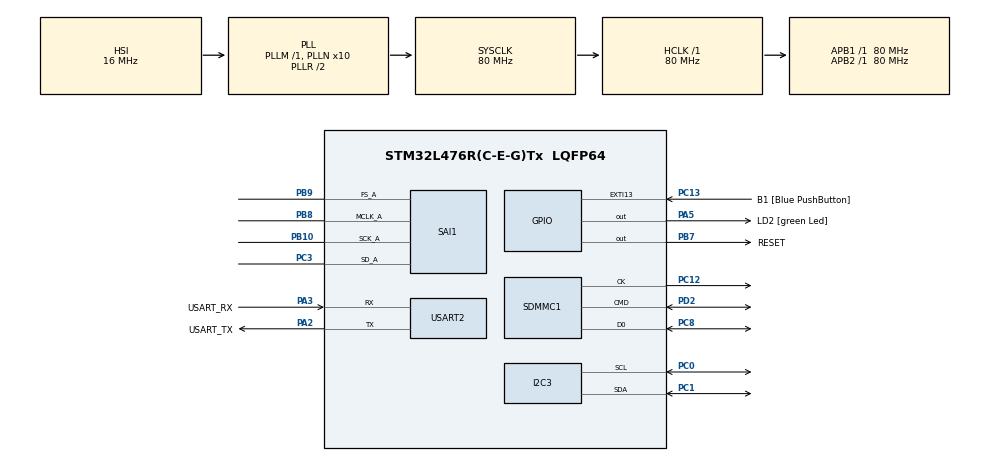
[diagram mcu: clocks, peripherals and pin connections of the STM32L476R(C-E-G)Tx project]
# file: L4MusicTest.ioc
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Dma.Request0=SAI1_A
Dma.SAI1_A.0.Direction=DMA_MEMORY_TO_PERIPH
Dma.SAI1_A.0.Instance=DMA2_Channel1
Dma.SAI1_A.0.MemDataAlignment=DMA_MDATAALIGN_HALFWORD
Dma.SAI1_A.0.MemInc=DMA_MINC_ENABLE
Dma.SAI1_A.0.Mode=DMA_CIRCULAR
Dma.SAI1_A.0.PeriphDataAlignment=DMA_PDATAALIGN_HALFWORD
Dma.SAI1_A.0.PeriphInc=DMA_PINC_DISABLE
Dma.SAI1_A.0.Priority=DMA_PRIORITY_HIGH
FATFS.USE_DMA_CODE_SD=0
FATFS._MAX_SS=4096
FATFS._USE_LFN=1
I2C3.Timing=0x10D19CE4
Mcu.Family=STM32L4
Mcu.Name=STM32L476R(C-E-G)Tx
Mcu.Package=LQFP64
NVIC.DMA2_Channel1_IRQn=true\:0\:0\:false\:false\:true\:false\:true\:true
NVIC.PriorityGroup=NVIC_PRIORITYGROUP_4
NVIC.SAI1_IRQn=true\:0\:0\:false\:false\:true\:true\:true\:true
NVIC.SDMMC1_IRQn=true\:0\:0\:false\:false\:true\:true\:true\:true
PA13\ (JTMS-SWDIO).GPIO_Label=TMS
PA13\ (JTMS-SWDIO).Mode=Serial_Wire
PA13\ (JTMS-SWDIO).Signal=SYS_JTMS-SWDIO
PA14\ (JTCK-SWCLK).GPIO_Label=TCK
PA14\ (JTCK-SWCLK).Mode=Serial_Wire
PA14\ (JTCK-SWCLK).Signal=SYS_JTCK-SWCLK
PA2.GPIO_Label=USART_TX
PA2.GPIO_Mode=GPIO_MODE_AF_PP
PA2.GPIO_PuPd=GPIO_NOPULL
PA2.GPIO_Speed=GPIO_SPEED_FREQ_VERY_HIGH
PA2.Mode=Asynchronous
PA2.Signal=USART2_TX
PA3.GPIO_Label=USART_RX
PA3.GPIO_Mode=GPIO_MODE_AF_PP
PA3.GPIO_PuPd=GPIO_NOPULL
PA3.GPIO_Speed=GPIO_SPEED_FREQ_VERY_HIGH
PA3.Mode=Asynchronous
PA3.Signal=USART2_RX
PA5.GPIO_Label=LD2 [green Led]
PA5.GPIO_ModeDefaultOutputPP=GPIO_MODE_OUTPUT_PP
PA5.GPIO_PuPd=GPIO_NOPULL
PA5.GPIO_Speed=GPIO_SPEED_FREQ_LOW
PA5.Signal=GPIO_Output
PB10.Mode=SAI_A_MasterWithClock
PB10.Signal=SAI1_SCK_A
PB3\ (JTDO-TRACESWO).GPIO_Label=SWO
PB3\ (JTDO-TRACESWO).Signal=SYS_JTDO-SWO
PB7.GPIO_Label=RESET
PB7.Signal=GPIO_Output
PB8.Mode=SAI_A_MasterWithClock
PB8.Signal=SAI1_MCLK_A
PB9.Mode=SAI_A_MasterWithClock
PB9.Signal=SAI1_FS_A
PC0.Mode=I2C
PC0.Signal=I2C3_SCL
PC1.Mode=I2C
PC1.Signal=I2C3_SDA
PC12.Mode=SD_1_bit
PC12.Signal=SDMMC1_CK
PC13.GPIO_Label=B1 [Blue PushButton]
PC13.GPIO_ModeDefaultEXTI=GPIO_MODE_IT_FALLING
PC13.GPIO_PuPd=GPIO_NOPULL
PC13.Signal=GPXTI13
PC14-OSC32_IN\ (PC14).Mode=LSE-External-Oscillator
PC14-OSC32_IN\ (PC14).Signal=RCC_OSC32_IN
PC15-OSC32_OUT\ (PC15).Mode=LSE-External-Oscillator
PC15-OSC32_OUT\ (PC15).Signal=RCC_OSC32_OUT
PC3.Mode=SAI_A_MasterWithClock
PC3.Signal=SAI1_SD_A
PC8.Mode=SD_1_bit
PC8.Signal=SDMMC1_D0
PD2.Mode=SD_1_bit
PD2.Signal=SDMMC1_CMD
PH0-OSC_IN\ (PH0).Signal=RCC_OSC_IN
PH1-OSC_OUT\ (PH1).Signal=RCC_OSC_OUT
ProjectManager.HeapSize=0x200
ProjectManager.StackSize=0x400
ProjectManager.TargetToolchain=CMake
RCC.ADCFreq_Value=64000000
RCC.AHBFreq_Value=80000000
RCC.APB1Freq_Value=80000000
RCC.APB1TimFreq_Value=80000000
RCC.APB2Freq_Value=80000000
RCC.APB2TimFreq_Value=80000000
RCC.CortexFreq_Value=80000000
RCC.HCLKFreq_Value=80000000
RCC.HSE_VALUE=8000000
RCC.HSI_VALUE=16000000
RCC.MSI_VALUE=4000000
RCC.PLLN=10
RCC.PLLP=RCC_PLLP_DIV17
RCC.PLLSAI1Q=RCC_PLLQ_DIV4
RCC.PLLSAI2N=12
RCC.PLLSAI2P=RCC_PLLP_DIV17
RCC.PLLSourceVirtual=RCC_PLLSOURCE_HSI
RCC.PREFETCH_ENABLE=1
RCC.SAI1CLockSelection=RCC_SAI1CLKSOURCE_PLLSAI2
RCC.SYSCLKFreq_VALUE=80000000
RCC.SYSCLKSource=RCC_SYSCLKSOURCE_PLLCLK
RCC.USBFreq_Value=32000000
RCC.VCOOutputFreq_Value=160000000
SAI1.AudioFrequency-SAI_A_MasterWithClock=SAI_AUDIO_FREQUENCY_44K
SAI1.ErrorAudioFreq-SAI_A_MasterWithClock=0.03 %
SAI1.InitProtocol-SAI_A_MasterWithClock=Enable
SAI1.Instance-SAI_A_MasterWithClock=SAI$Index_Block_A
SAI1.MClockEnable-SAI_A_MasterWithClock=SAI_MASTERCLOCK_ENABLE
SAI1.RealAudioFreq-SAI_A_MasterWithClock=44.117 KHz
SAI1.VirtualMode-SAI_A_MasterWithClock=VM_MASTER
SAI1.VirtualProtocol-SAI_A_BASIC=VM_BASIC_PROTOCOL
SDMMC1.ClockDiv=4
USART2.VirtualMode-Asynchronous=VM_ASYNC
VP_FATFS_VS_SDIO.Mode=SDIO
VP_SAI1_VP_$IpInstance_SAIA_SAI_BASIC.Mode=SAI_A_BASIC
board=NUCLEO-L476RG

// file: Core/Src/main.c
/* USER CODE BEGIN Header */
/**
  ******************************************************************************
  * @file           : main.c
  * @brief          : Main program body
  ******************************************************************************
  * @attention
  *
  * Copyright (c) 2026 STMicroelectronics.
  * All rights reserved.
  *
  * This software is licensed under terms that can be found in the LICENSE file
  * in the root directory of this software component.
  * If no LICENSE file comes with this software, it is provided AS-IS.
  *
  ******************************************************************************
  */
/* USER CODE END Header */
#include "main.h"
#include "dma.h"
#include "fatfs.h"
#include "i2c.h"
#include "sai.h"
#include "sdmmc.h"
#include "usart.h"
#include "gpio.h"

/* USER CODE BEGIN Includes */
#include "string.h"
#include "stdio.h"
#include "tlv3100.h"
#include "sdcard_functions.h"

/* USER CODE END Includes */

/* USER CODE BEGIN PV */
// Double buffer — each half is one DMA "half" transfer
// 1024 samples * 2 channels = 2048 int16_t per buffer
#define AUDIO_BUFFER_SAMPLES   2048   // per buffer (stereo: 1024 frames)
#define WAV_HEADER_SIZE        44     // skip standard PCM WAV header
#define MAX_WAV_FILES 20
int current_song_index = 0;

/* USER CODE END PV */

void SystemClock_Config(void);
/* USER CODE BEGIN PFP */

// Forward declarations

int _write(int file, char *ptr, int len) {
    // 1: stdout, 2: stderr
    if (file == 1 || file == 2) {
        // Send data through USART2
        // We use a blocking transmit here
        HAL_StatusTypeDef status = HAL_UART_Transmit(&huart2, (uint8_t *)ptr, len, HAL_MAX_DELAY);

        if (status == HAL_OK) {
            return len; // Return number of bytes written
        }
    }
    return -1; // Return -1 if write failed or file descriptor is invalid
}
#define SINE_SAMPLES 48  // 48 samples per cycle

const int16_t SineWave_Buffer[SINE_SAMPLES * 2] = {
    0, 0, 3977, 3977, 7887, 7887, 11663, 11663, 15239, 15239, 18643, 18643,
    21811, 21811, 24680, 24680, 27192, 27192, 29298, 29298, 30952, 30952, 32120, 32120,
    32767, 32767, 32120, 32120, 30952, 30952, 29298, 29298, 27192, 27192, 24680, 24680,
    21811, 21811, 18643, 18643, 15239, 15239, 11663, 11663, 7887, 7887, 3977, 3977,
    0, 0, -3977, -3977, -7887, -7887, -11663, -11663, -15239, -15239, -18643, -18643,
    -21811, -21811, -24680, -24680, -27192, -27192, -29298, -29298, -30952, -30952, -32120, -32120,
    -32767, -32767, -32120, -32120, -30952, -30952, -29298, -29298, -27192, -27192, -24680, -24680,
    -21811, -21811, -18643, -18643, -15239, -15239, -11663, -11663, -7887, -7887, -3977, -3977
};

/* USER CODE END PFP */

int main(void)
{

  /* MCU Configuration--------------------------------------------------------*/

  /* Reset of all peripherals, Initializes the Flash interface and the Systick. */
  HAL_Init();

  /* Configure the system clock */
  SystemClock_Config();

  /* Initialize all configured peripherals */
  MX_GPIO_Init();
  MX_DMA_Init();
  MX_SAI1_Init();
  MX_SDMMC1_SD_Init();
  MX_USART2_UART_Init();
  MX_FATFS_Init();
  MX_I2C3_Init();
  /* USER CODE BEGIN 2 */
  HAL_GPIO_WritePin(RESET_GPIO_Port, RESET_Pin, GPIO_PIN_RESET);
  HAL_Delay(10); // Hold reset for 10ms

  // Pull PC5 HIGH to bring the DAC out of reset
  HAL_GPIO_WritePin(RESET_GPIO_Port, RESET_Pin, GPIO_PIN_SET);
  HAL_Delay(10); // Give the DAC 10ms to boot up before sending I2C commands

  DAC3100_Init(&hi2c3);
  //HAL_SAI_Transmit_DMA(&hsai_BlockA1, (uint8_t*)SineWave_Buffer, SINE_SAMPLES * 2);
  HAL_Delay(10);
 // Mount SD card
  if (f_mount(&SDFatFS, SDPath, 1) != FR_OK) {
      printf("SD mount failed\r\n");
      Error_Handler();
  }
  char my_wav_files[MAX_WAV_FILES][MAX_FILENAME_LEN];
  int total_files = SD_GetWavFiles("/", my_wav_files, MAX_WAV_FILES);
  printf("\r\n--- Playing Files ---\r\n");
  Audio_Play(my_wav_files[0]);

   /*  Open WAV and skip header
  if (Audio_Play("AUDIO441.WAV") != HAL_OK) {
      Error_Handler();
  }    */

 tlv3100_unmute(&hi2c3);

  /* USER CODE END 2 */

  /* Infinite loop */
  while (1)
  {

    /* USER CODE BEGIN 3 */
     // Refill whichever half the ISR flagged
    if (BufferReady[0]) {
        BufferReady[0] = 0;
        if (PlaybackActive) Audio_FillBuffer(0);
    }
    if (BufferReady[1]) {
        BufferReady[1] = 0;
        if (PlaybackActive) Audio_FillBuffer(1);
    }

    // Optional: stop SAI cleanly when file ends
    if (!PlaybackActive) {

        // 1. Stop the current DMA transfer and close the file
        HAL_SAI_DMAStop(&hsai_BlockA1);
        if (FileIsOpen) {
            f_close(&WavFile);
            FileIsOpen = 0;
        }

        // 2. Advance to the next song
        current_song_index++;

        // Wrap around to the start of the playlist if we hit the end
        if (current_song_index >= total_files) {
            current_song_index = 0;
        }

        printf("\r\n--- Track Ended. Auto-Playing Next ---\r\n");

        // 3. Play the next file in the array
        if (total_files > 0) {
            Audio_Play(my_wav_files[current_song_index]);
        }
    }
  }
  /* USER CODE END 3 */
}

void SystemClock_Config(void)
{
  RCC_OscInitTypeDef RCC_OscInitStruct = {0};
  RCC_ClkInitTypeDef RCC_ClkInitStruct = {0};

  /** Configure the main internal regulator output voltage
  */
  if (HAL_PWREx_ControlVoltageScaling(PWR_REGULATOR_VOLTAGE_SCALE1) != HAL_OK)
  {
    Error_Handler();
  }

  /** Initializes the RCC Oscillators according to the specified parameters
  * in the RCC_OscInitTypeDef structure.
  */
  RCC_OscInitStruct.OscillatorType = RCC_OSCILLATORTYPE_HSI;
  RCC_OscInitStruct.HSIState = RCC_HSI_ON;
  RCC_OscInitStruct.HSICalibrationValue = RCC_HSICALIBRATION_DEFAULT;
  RCC_OscInitStruct.PLL.PLLState = RCC_PLL_ON;
  RCC_OscInitStruct.PLL.PLLSource = RCC_PLLSOURCE_HSI;
  RCC_OscInitStruct.PLL.PLLM = 1;
  RCC_OscInitStruct.PLL.PLLN = 10;
  RCC_OscInitStruct.PLL.PLLP = RCC_PLLP_DIV17;
  RCC_OscInitStruct.PLL.PLLQ = RCC_PLLQ_DIV2;
  RCC_OscInitStruct.PLL.PLLR = RCC_PLLR_DIV2;
  if (HAL_RCC_OscConfig(&RCC_OscInitStruct) != HAL_OK)
  {
    Error_Handler();
  }

  /** Initializes the CPU, AHB and APB buses clocks
  */
  RCC_ClkInitStruct.ClockType = RCC_CLOCKTYPE_HCLK|RCC_CLOCKTYPE_SYSCLK
                              |RCC_CLOCKTYPE_PCLK1|RCC_CLOCKTYPE_PCLK2;
  RCC_ClkInitStruct.SYSCLKSource = RCC_SYSCLKSOURCE_PLLCLK;
  RCC_ClkInitStruct.AHBCLKDivider = RCC_SYSCLK_DIV1;
  RCC_ClkInitStruct.APB1CLKDivider = RCC_HCLK_DIV1;
  RCC_ClkInitStruct.APB2CLKDivider = RCC_HCLK_DIV1;

  if (HAL_RCC_ClockConfig(&RCC_ClkInitStruct, FLASH_LATENCY_4) != HAL_OK)
  {
    Error_Handler();
  }
}

/* USER CODE BEGIN 4 */
void HAL_SAI_TxHalfCpltCallback(SAI_HandleTypeDef *hsai)
{
    if (hsai->Instance == hsai_BlockA1.Instance)
        BufferReady[0] = 1;
}

// Called by HAL when the second half of the DMA buffer is done — refill buffer 1
void HAL_SAI_TxCpltCallback(SAI_HandleTypeDef *hsai)
{
    if (hsai->Instance == hsai_BlockA1.Instance)
        BufferReady[1] = 1;
}

/* USER CODE END 4 */

void Error_Handler(void)
{
  __disable_irq();
  while (1)
  {
  }
}
